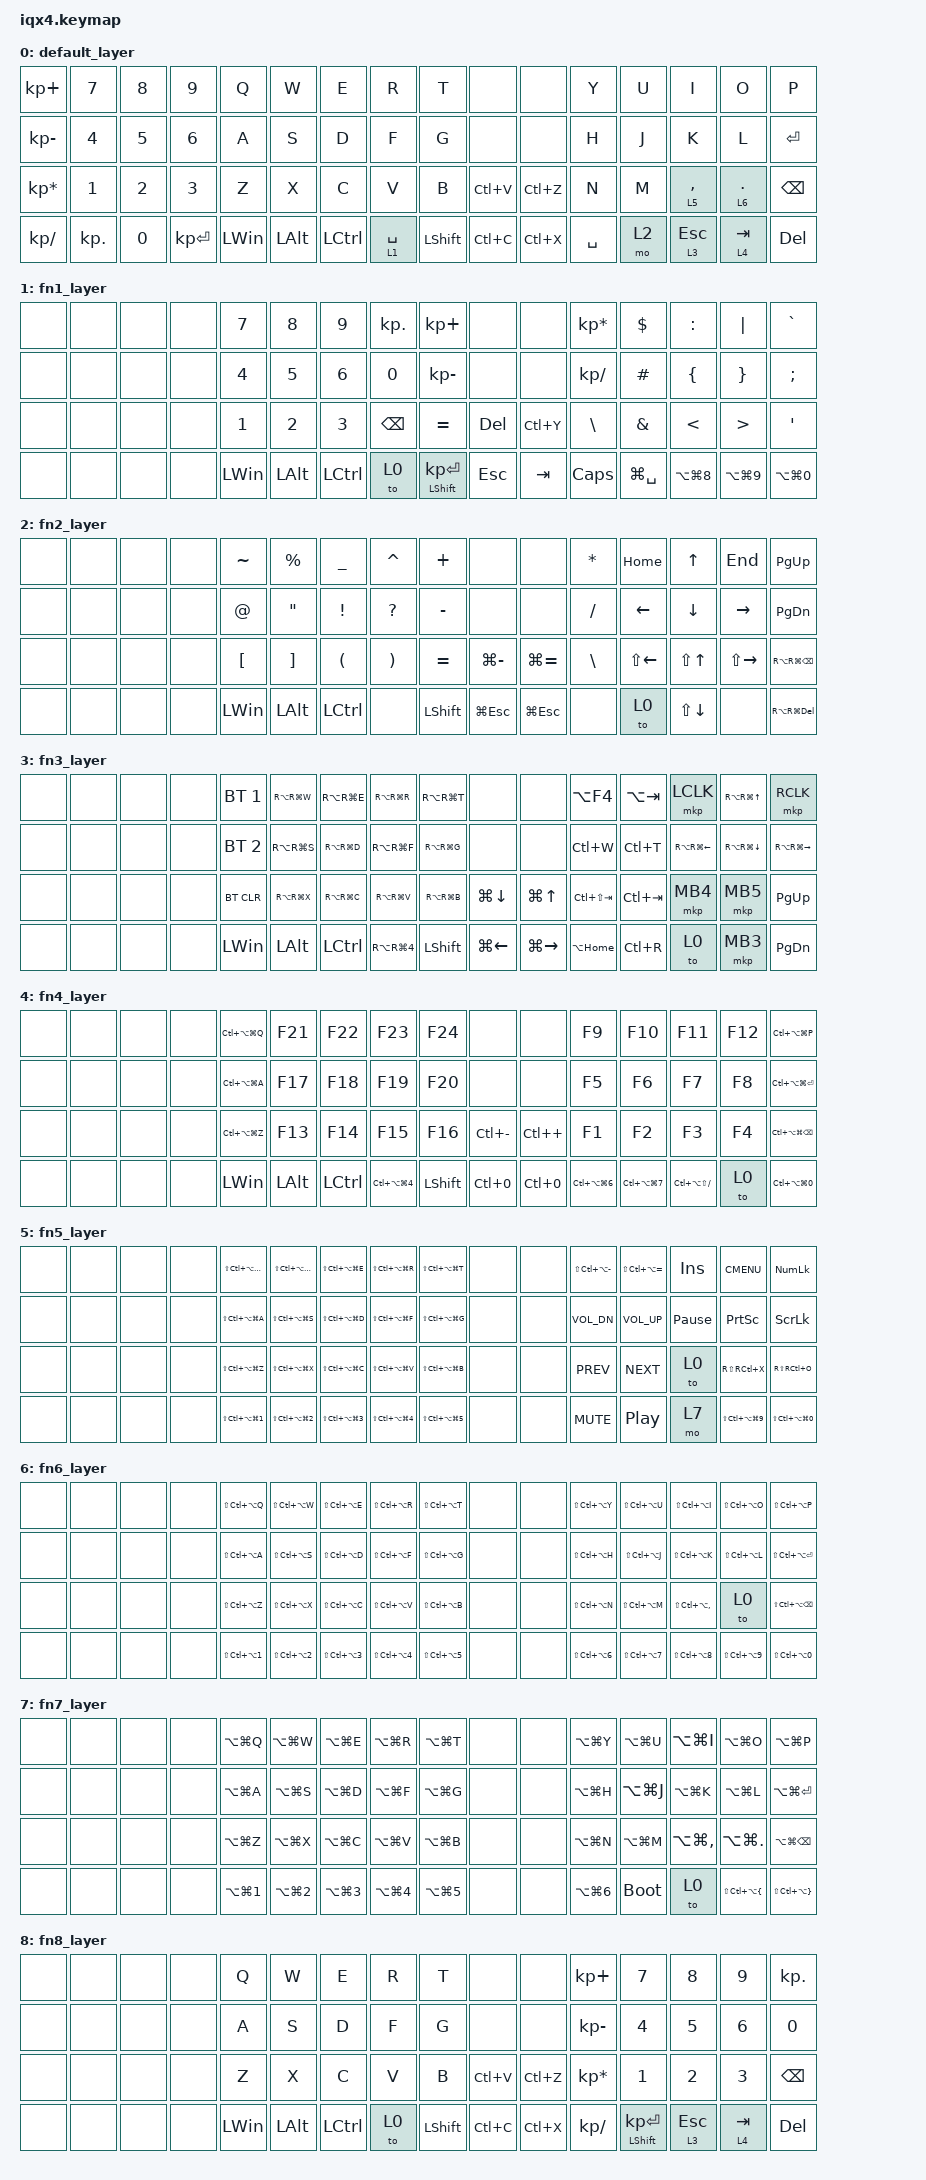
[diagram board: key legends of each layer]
/*
 * Copyright (c) 2020 The ZMK Contributors
 *
 * SPDX-License-Identifier: MIT
 */

#include <behaviors.dtsi>
#include <dt-bindings/zmk/keys.h>
#include <dt-bindings/zmk/rgb.h>
#include <dt-bindings/zmk/bt.h>
#include <dt-bindings/zmk/outputs.h>
#include <dt-bindings/zmk/ext_power.h>
#include <dt-bindings/zmk/mouse.h>

/ {
	keymap0: keymap {
		compatible = "zmk,keymap";

		default_layer {
            // |  +  |  7  |  8  |  9  |   Q   |   W   |   E   |   R   |   T   |  VolU |  Play |   Y   |   U   |   I   |   O   |   P   |
            // |  -  |  4  |  5  |  6  |   A   |   S   |   D   |   F   |   G   |  VolD |  Next |   H   |   J   |   K   |   L   |  Ent  |
            // |  *  |  1  |  2  |  3  |   Z   |   X   |   C   |   V   |   B   |   ^V  |   ^Z  |   N   |   M   |  5 ,  |  6 .  |  BS   |
            // |  /  |  .  |  0  | Ent | LWin  |  LAlt | LCtrl | MO(1) | LSht  |   ^C  |   ^X  | SPACE | MO(2) | 3,ESC | 3,TAB |  Del  | 
            bindings = <
            &kp KP_PLUS      &kp N7     &kp N8    &kp N9       &kp Q     &kp W     &kp E      &kp R       &kp T     &none      &none       &kp Y      &kp U   &kp I          &kp O       &kp P    
            &kp KP_MINUS     &kp N4     &kp N5    &kp N6       &kp A     &kp S     &kp D      &kp F       &kp G     &none      &none       &kp H      &kp J   &kp K          &kp L       &kp ENTER
            &kp KP_MULTIPLY  &kp N1     &kp N2    &kp N3       &kp Z     &kp X     &kp C      &kp V       &kp B     &kp LC(V)  &kp LC(Z)   &kp N      &kp M   &lt 5 COMMA    &lt 6 DOT   &kp BSPC 
            &kp KP_SLASH     &kp KP_DOT &kp N0    &kp KP_ENTER &kp LWIN  &kp LALT  &kp LCTRL  &lt 1 SPACE &kp LSHFT &kp LC(C)  &kp LC(X)   &kp SPACE  &mo 2   &lt 3 ESC      &lt 4 TAB   &kp DEL  
            >;
		};

		fn1_layer {
            // | --- | --- | --- | --- |   7   |   8   |   9   |   .   |   +   |  ---  |  ---  |   *   |   $   |   :   |   |   |   `   |
            // | --- | --- | --- | --- |   4   |   5   |   6   |   0   |   -   |  ---  |  ---  |   /   |   #   |   {   |   }   |   ;   |
            // | --- | --- | --- | --- |   1   |   2   |   3   |  BS   |   =   |  Del  |   ^Y  |   \   |   &   |   <   |   >   |   '   |
            // | --- | --- | --- | --- | LWin  |  LAlt | LCtrl | TO(0) | LSht  |  Esc  |  Tab  |  CAPS | #Spc  |  ^!+  |  ^!+  |  ^!+  |
            bindings = <
            &none   &none   &none   &none   &kp N7    &kp N8    &kp N9    &kp KP_DOT &kp KP_PLUS         &none    &none     &kp KP_MULTIPLY  &kp DLLR      &kp COLON      &kp PIPE       &kp GRAVE  
            &none   &none   &none   &none   &kp N4    &kp N5    &kp N6    &kp N0     &kp KP_MINUS        &none    &none     &kp KP_SLASH     &kp HASH      &kp LBRC       &kp RBRC       &kp SEMI   
            &none   &none   &none   &none   &kp N1    &kp N2    &kp N3    &kp BSPC   &kp EQUAL           &kp DEL  &kp LC(Y) &kp BSLH         &kp AMPS      &kp LT         &kp GT         &kp SQT  
            &none   &none   &none   &none   &kp LWIN  &kp LALT  &kp LCTRL &to 0      &mt LSHFT KP_ENTER  &kp ESC  &kp TAB   &kp CAPS         &kp LG(SPACE) &kp LA(LG(N8)) &kp LA(LG(N9)) &kp LA(LG(N0))    
             >;
		};

		fn2_layer {
            // | --- | --- | --- | --- |   ~   |   %   |   _   |   ^   |   +   |  ---  |  ---  |   *   |  Home |   Up  |  End  | PgUp  |
            // | --- | --- | --- | --- |   @   |   "   |   !   |   ?   |   -   |  ---  |  ---  |   /   |  Left |   Dn  | Right | PgDn  |
            // | --- | --- | --- | --- |   [   |   ]   |   '   |   &   |   =   |  #Dn  |  #Up  |   \   | +Left |  +Up  |+Right | !#BS  |
            // | --- | --- | --- | --- | LWin  |  LAlt | LCtrl | MO(8) | LSht  | #Left | #Right|  CAPS | TO(0) |  +Dn  |  ---  | !#Del |
            bindings = <
            &none   &none   &none   &none  &kp TILDE &kp PRCNT &kp UNDER &kp CARET  &kp PLUS   &none         &none          &kp STAR   &kp HOME      &kp UP       &kp END         &kp PG_UP 
            &none   &none   &none   &none  &kp AT    &kp DQT   &kp EXCL  &kp QMARK  &kp MINUS  &none         &none          &kp SLASH  &kp LEFT      &kp DOWN     &kp RIGHT       &kp PG_DN 
            &none   &none   &none   &none  &kp LBKT  &kp RBKT  &kp LPAR  &kp RPAR   &kp EQUAL  &kp LG(MINUS) &kp LG(EQUAL)  &kp BSLH   &kp LS(LEFT)  &kp LS(UP)   &kp LS(RIGHT)   &kp RA(RG(BSPC))  
            &none   &none   &none   &none  &kp LWIN  &kp LALT  &kp LCTRL &none      &kp LSHFT  &kp LG(ESC)   &kp LG(ESC)    &none      &to 0         &kp LS(DOWN) &none           &kp RA(RG(DEL))    
            >;
		};

		fn3_layer {
            bindings = <
		&none   &none   &none   &none   &bt BT_SEL 1  &kp RA(RG(W))  &kp RA(RG(E))  &kp RA(RG(R))  &kp RA(RG(T))   &none         &none          &kp LA(F4)       &kp LA(TAB)  &mkp LCLK         &kp RA(RG(UP))     &mkp RCLK           
		&none   &none   &none   &none   &bt BT_SEL 2  &kp RA(RG(S))  &kp RA(RG(D))  &kp RA(RG(F))  &kp RA(RG(G))   &none         &none          &kp LC(W)        &kp LC(T)    &kp RA(RG(LEFT))  &kp RA(RG(DOWN))   &kp RA(RG(RIGHT))         
		&none   &none   &none   &none   &bt BT_CLR    &kp RA(RG(X))  &kp RA(RG(C))  &kp RA(RG(V))  &kp RA(RG(B))   &kp LG(DOWN)  &kp LG(UP)     &kp LC(LS(TAB))  &kp LC(TAB)  &mkp MB4          &mkp MB5           &kp PG_UP       
            &none   &none   &none   &none   &kp LWIN      &kp LALT       &kp LCTRL      &kp RA(RG(N4)) &kp LSHFT       &kp LG(LEFT)  &kp LG(RIGHT)  &kp LA(HOME)     &kp LC(R)    &to 0             &mkp MB3           &kp PG_DN    
            >;
		};
		
		fn4_layer {
            bindings = <
            &none   &none   &none   &none  &kp LC(LA(LG(Q)))  &kp F21  &kp F22   &kp F23             &kp F24    &none         &none         &kp F9               &kp F10             &kp F11               &kp F12   &kp LC(LA(LG(P)))
            &none   &none   &none   &none  &kp LC(LA(LG(A)))  &kp F17  &kp F18   &kp F19             &kp F20    &none         &none         &kp F5               &kp F6              &kp F7                &kp F8    &kp LC(LA(LG(ENTER)))
            &none   &none   &none   &none  &kp LC(LA(LG(Z)))  &kp F13  &kp F14   &kp F15             &kp F16    &kp LC(MINUS) &kp LC(PLUS)  &kp F1               &kp F2              &kp F3                &kp F4    &kp LC(LA(LG(BSPC)))
            &none   &none   &none   &none  &kp LWIN           &kp LALT &kp LCTRL &kp LC(LA(LG(N4)))  &kp LSHFT  &kp LC(N0)    &kp LC(N0)    &kp LC(LA(LG(N6)))   &kp LC(LA(LG(N7)))  &kp LC(LA(LS(SLASH))) &to 0     &kp LC(LA(LG(N0)))    
            >;
		};

		fn5_layer {
            bindings = <
		&none   &none   &none   &none   &kp LS(LC(LA(LG(Q))))  &kp LS(LC(LA(LG(W))))  &kp LS(LC(LA(LG(E))))  &kp LS(LC(LA(LG(R))))  &kp LS(LC(LA(LG(T))))   &none   &none   &kp LS(LC(LA(MINUS)))   &kp LS(LC(LA(EQUAL)))   &kp INS          &kp K_CMENU             &kp KP_NLCK         
		&none   &none   &none   &none   &kp LS(LC(LA(LG(A))))  &kp LS(LC(LA(LG(S))))  &kp LS(LC(LA(LG(D))))  &kp LS(LC(LA(LG(F))))  &kp LS(LC(LA(LG(G))))   &none   &none   &kp C_VOL_DN            &kp C_VOL_UP            &kp PAUSE_BREAK  &kp PSCRN               &kp SLCK      
		&none   &none   &none   &none   &kp LS(LC(LA(LG(Z))))  &kp LS(LC(LA(LG(X))))  &kp LS(LC(LA(LG(C))))  &kp LS(LC(LA(LG(V))))  &kp LS(LC(LA(LG(B))))   &none   &none   &kp C_PREV              &kp C_NEXT              &to 0            &kp RS(RC(X))           &kp RS(RC(O))        
		&none   &none   &none   &none   &kp LS(LC(LA(LG(N1)))) &kp LS(LC(LA(LG(N2)))) &kp LS(LC(LA(LG(N3)))) &kp LS(LC(LA(LG(N4)))) &kp LS(LC(LA(LG(N5))))  &none   &none   &kp C_MUTE              &kp C_PP                &mo 7            &kp LS(LC(LA(LG(N9))))  &kp LS(LC(LA(LG(N0))))       
            >;
		};
		
		fn6_layer {
            bindings = <
		&none   &none   &none   &none   &kp LS(LC(LA(Q)))  &kp LS(LC(LA(W)))  &kp LS(LC(LA(E)))  &kp LS(LC(LA(R)))  &kp LS(LC(LA(T)))   &none   &none   &kp LS(LC(LA(Y)))  &kp LS(LC(LA(U)))  &kp LS(LC(LA(I)))     &kp LS(LC(LA(O)))   &kp LS(LC(LA(P)))         
		&none   &none   &none   &none   &kp LS(LC(LA(A)))  &kp LS(LC(LA(S)))  &kp LS(LC(LA(D)))  &kp LS(LC(LA(F)))  &kp LS(LC(LA(G)))   &none   &none   &kp LS(LC(LA(H)))  &kp LS(LC(LA(J)))  &kp LS(LC(LA(K)))     &kp LS(LC(LA(L)))   &kp LS(LC(LA(ENTER)))      
		&none   &none   &none   &none   &kp LS(LC(LA(Z)))  &kp LS(LC(LA(X)))  &kp LS(LC(LA(C)))  &kp LS(LC(LA(V)))  &kp LS(LC(LA(B)))   &none   &none   &kp LS(LC(LA(N)))  &kp LS(LC(LA(M)))  &kp LS(LC(LA(COMMA))) &to 0               &kp LS(LC(LA(BSPC)))       
		&none   &none   &none   &none   &kp LS(LC(LA(N1))) &kp LS(LC(LA(N2))) &kp LS(LC(LA(N3))) &kp LS(LC(LA(N4))) &kp LS(LC(LA(N5)))  &none   &none   &kp LS(LC(LA(N6))) &kp LS(LC(LA(N7))) &kp LS(LC(LA(N8)))    &kp LS(LC(LA(N9)))  &kp LS(LC(LA(N0)))       
            >;
		};
		
		fn7_layer {
            bindings = <
		&none   &none   &none   &none   &kp LA(LG(Q))  &kp LA(LG(W))  &kp LA(LG(E))  &kp LA(LG(R))  &kp LA(LG(T))   &none   &none   &kp LA(LG(Y))  &kp LA(LG(U))  &kp LA(LG(I))     &kp LA(LG(O))         &kp LA(LG(P))         
		&none   &none   &none   &none   &kp LA(LG(A))  &kp LA(LG(S))  &kp LA(LG(D))  &kp LA(LG(F))  &kp LA(LG(G))   &none   &none   &kp LA(LG(H))  &kp LA(LG(J))  &kp LA(LG(K))     &kp LA(LG(L))         &kp LA(LG(ENTER))      
		&none   &none   &none   &none   &kp LA(LG(Z))  &kp LA(LG(X))  &kp LA(LG(C))  &kp LA(LG(V))  &kp LA(LG(B))   &none   &none   &kp LA(LG(N))  &kp LA(LG(M))  &kp LA(LG(COMMA)) &kp LA(LG(DOT))       &kp LA(LG(BSPC))       
		&none   &none   &none   &none   &kp LA(LG(N1)) &kp LA(LG(N2)) &kp LA(LG(N3)) &kp LA(LG(N4)) &kp LA(LG(N5))  &none   &none   &kp LA(LG(N6)) &bootloader    &to 0             &kp LS(LC(LA(LBRC)))  &kp LS(LC(LA(RBRC)))       
            >;
		};
		
		fn8_layer {
            bindings = <
            &none   &none   &none   &none   &kp Q     &kp W     &kp E      &kp R   &kp T     &none      &none     &kp KP_PLUS      &kp N7              &kp N8    &kp N9    &kp KP_DOT    
            &none   &none   &none   &none   &kp A     &kp S     &kp D      &kp F   &kp G     &none      &none     &kp KP_MINUS     &kp N4              &kp N5    &kp N6    &kp N0
            &none   &none   &none   &none   &kp Z     &kp X     &kp C      &kp V   &kp B     &kp LC(V)  &kp LC(Z) &kp KP_MULTIPLY  &kp N1              &kp N2    &kp N3    &kp BSPC 
            &none   &none   &none   &none   &kp LWIN  &kp LALT  &kp LCTRL  &to 0   &kp LSHFT &kp LC(C)  &kp LC(X) &kp KP_SLASH     &mt LSHFT KP_ENTER  &lt 3 ESC &lt 4 TAB &kp DEL  
            >;
		};
	};
};
